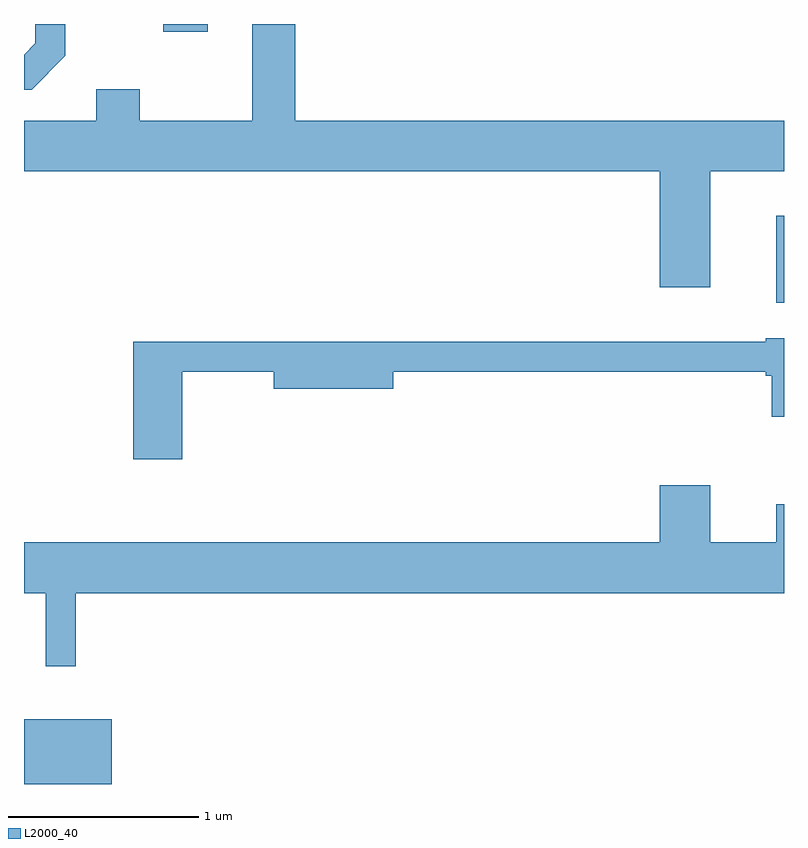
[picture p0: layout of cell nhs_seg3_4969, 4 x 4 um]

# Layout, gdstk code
import gdstk
lib = gdstk.Library(unit=1e-6, precision=1e-09)
def R(c, l, rs):  # rectangles x0, y0, x1, y1
    for r in rs: c.add(gdstk.rectangle(r[:2], r[2:], *l))
def P(c, l, *ps):  # polygons
    for p in ps: c.add(gdstk.Polygon(p, *l))
L2000_40 = (2000, 40)

nhs_seg3_4969 = lib.new_cell('nhs_seg3_4969')
R(nhs_seg3_4969, L2000_40, [(331.611,1133.892,332.074,1134.234), (335.571,1136.426,335.611,1136.884), (332.343,1137.851,332.579,1137.892)])
P(nhs_seg3_4969, L2000_40, [(335.224,1137.116),(335.611,1137.116),(335.611,1137.384),(333.039,1137.384),(333.039,1137.892),(332.811,1137.892),(332.811,1137.384),(332.219,1137.384),(332.219,1137.549),(331.991,1137.549),(331.991,1137.384),(331.611,1137.384),(331.611,1137.116),(334.956,1137.116),(334.956,1136.506),(335.224,1136.506)],
  [(331.829,1137.724),(331.829,1137.892),(331.671,1137.892),(331.671,1137.792),(331.611,1137.731),(331.611,1137.546),(331.652,1137.546)],
  [(332.444,1136.061),(332.926,1136.061),(332.926,1135.971),(333.554,1135.971),(333.554,1136.061),(335.516,1136.061),(335.516,1136.041),(335.546,1136.041),(335.546,1135.826),(335.611,1135.826),(335.611,1136.239),(335.516,1136.239),(335.516,1136.219),(332.186,1136.219),(332.186,1135.601),(332.444,1135.601)],
  [(331.884,1134.896),(335.611,1134.896),(335.611,1135.364),(335.571,1135.364),(335.571,1135.164),(335.224,1135.164),(335.224,1135.464),(334.956,1135.464),(334.956,1135.164),(331.611,1135.164),(331.611,1134.896),(331.726,1134.896),(331.726,1134.513),(331.884,1134.513)])

lib.write_gds('nhs_seg3_4969.gds')
